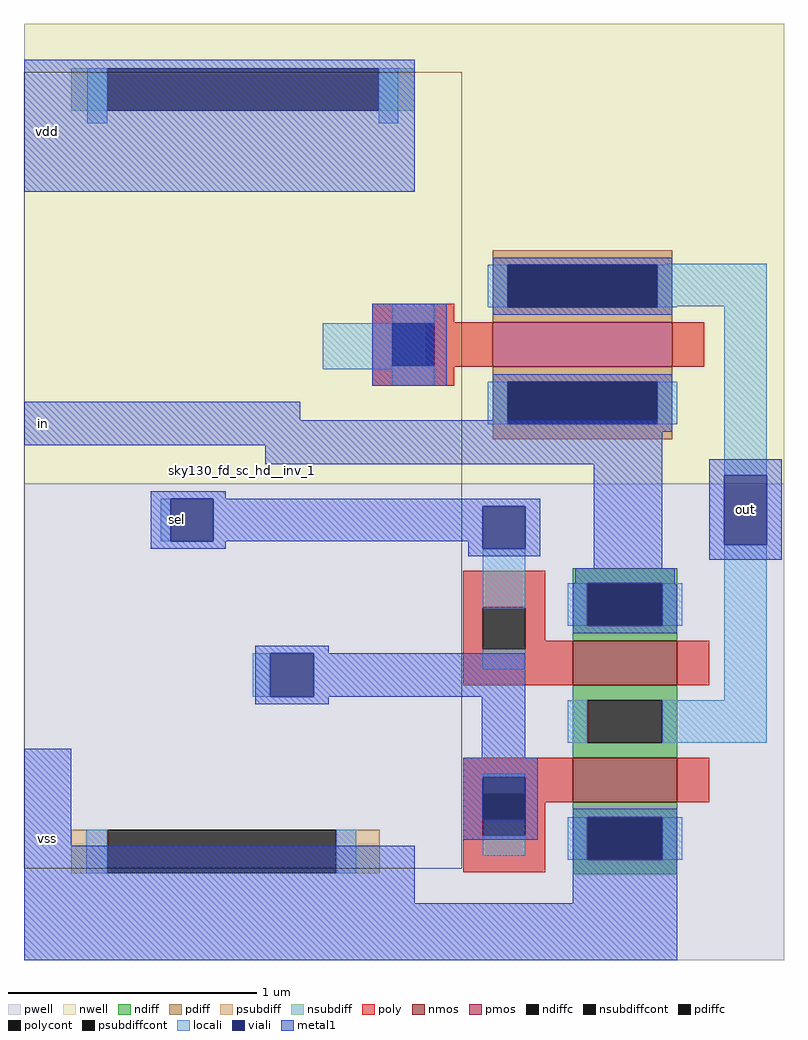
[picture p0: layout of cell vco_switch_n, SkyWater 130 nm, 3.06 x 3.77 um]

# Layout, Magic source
magic
tech sky130A
magscale 1 2
<< nwell >>
rect 376 952 987 1215
rect 376 845 932 952
rect 934 845 987 952
<< pwell >>
rect 376 462 987 845
<< psubdiff >>
rect 414 532 443 567
rect 627 532 662 567
<< nsubdiff >>
rect 414 1145 443 1179
rect 661 1145 690 1179
<< psubdiffcont >>
rect 443 532 627 567
<< nsubdiffcont >>
rect 443 1145 661 1179
<< locali >>
rect 427 1135 443 1179
rect 661 1135 677 1179
rect 891 988 973 1022
rect 616 937 698 974
rect 939 852 973 988
rect 486 799 494 833
rect 745 745 779 793
rect 560 674 574 709
rect 939 671 973 796
rect 899 637 973 671
rect 426 532 443 567
rect 627 532 643 567
rect 813 543 829 577
rect 889 543 905 577
<< viali >>
rect 494 799 528 833
rect 745 793 779 827
rect 939 796 973 852
rect 829 731 889 765
rect 574 674 609 709
rect 745 575 779 609
rect 829 543 889 577
<< metal1 >>
rect 376 1080 690 1186
rect 656 924 716 990
rect 376 896 598 911
rect 376 876 889 896
rect 570 861 889 876
rect 478 833 538 839
rect 478 799 494 833
rect 528 827 791 833
rect 528 799 745 827
rect 478 793 538 799
rect 733 793 745 799
rect 779 793 791 827
rect 733 787 791 793
rect 834 777 889 861
rect 927 852 985 865
rect 927 796 939 852
rect 973 796 985 852
rect 927 784 985 796
rect 819 765 899 777
rect 817 731 829 765
rect 889 764 899 765
rect 889 731 901 764
rect 817 725 901 731
rect 562 709 621 715
rect 562 674 574 709
rect 609 674 779 709
rect 562 668 621 674
rect 376 554 414 632
rect 744 625 779 674
rect 729 609 789 625
rect 729 575 745 609
rect 779 575 789 609
rect 729 559 789 575
rect 817 577 901 584
rect 376 508 690 554
rect 817 543 829 577
rect 889 543 901 577
rect 817 508 901 543
rect 376 462 901 508
use sky130_fd_pr__nfet_01v8_HGTGXE_v2  sky130_fd_pr__nfet_01v8_HGTGXE_v2_1
transform 0 -1 828 -1 0 607
box -76 -99 76 99
use sky130_fd_pr__nfet_01v8_HGTGXE_v2  sky130_fd_pr__nfet_01v8_HGTGXE_v2_0
transform 0 -1 828 1 0 701
box -76 -99 76 99
use sky130_fd_pr__pfet_01v8_ACAZ2B  XM25
transform 0 -1 789 1 0 957
box -112 -170 112 136
use sky130_fd_sc_hd__inv_1  x1 $PDKPATH/libs.ref/sky130_fd_sc_hd/mag
transform 1 0 414 0 1 584
box -38 -48 314 592
<< labels >>
rlabel metal1 376 876 407 911 1 in
port 0 n
rlabel metal1 376 488 414 632 1 vss
port 3 n
rlabel metal1 376 1080 414 1176 1 vdd
port 4 n
rlabel metal1 927 784 985 865 1 out
port 2 n
rlabel metal1 478 793 520 839 1 sel
port 1 n
<< end >>

# cell sky130_fd_pr__nfet_01v8_HGTGXE_v2: kit device sky130_fd_pr__nfet_01v8, w 0.42 l 0.18 m 1 nf 1 diffcov 100 polycov 100 guard 0 glc 0 grc 0 gtc 0 gbc 0 tbcov 100 rlcov 100 topc 1 botc 0 poverlap 0 doverlap 1 lmin 0.15 wmin 0.42 compatible {sky130_fd_pr__nfet_01v8 sky130_fd_pr__nfet_01v8_lvt sky130_fd_bs_flash__special_sonosfet_star sky130_fd_pr__nfet_g5v0d10v5 sky130_fd_pr__nfet_05v0_nvt sky130_fd_pr__nfet_03v3_nvt} full_metal 0 viasrc 100 viadrn 100 viagate 100 viagb 0 viagr 0 viagl 0 viagt 0

# cell sky130_fd_pr__pfet_01v8_ACAZ2B: kit device sky130_fd_pr__pfet_01v8, w 0.72 l 0.18 m 1 nf 1 diffcov 100 polycov 100 guard 0 glc 0 grc 0 gtc 0 gbc 0 tbcov 100 rlcov 100 topc 1 botc 0 poverlap 0 doverlap 1 lmin 0.15 wmin 0.42 compatible {sky130_fd_pr__pfet_01v8 sky130_fd_pr__pfet_01v8_lvt sky130_fd_pr__pfet_01v8_hvt sky130_fd_pr__pfet_g5v0d10v5} full_metal 0 viasrc 100 viadrn 100 viagate 100 viagb 0 viagr 0 viagl 0 viagt 0
